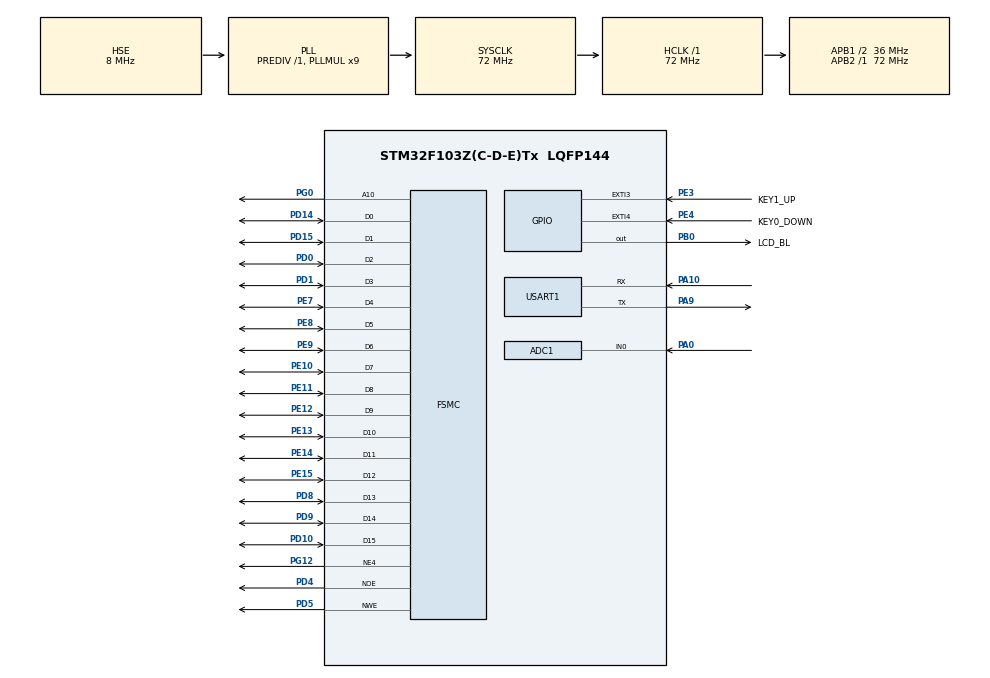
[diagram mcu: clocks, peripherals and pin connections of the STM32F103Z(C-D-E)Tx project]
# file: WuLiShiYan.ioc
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ADC1.Channel-3\#ChannelRegularConversion=ADC_CHANNEL_0
ADC1.ContinuousConvMode=DISABLE
ADC1.ExternalTrigConv=ADC_EXTERNALTRIGCONV_T3_TRGO
ADC1.NbrOfConversionFlag=1
ADC1.Rank-3\#ChannelRegularConversion=1
ADC1.SamplingTime-3\#ChannelRegularConversion=ADC_SAMPLETIME_1CYCLE_5
ADC1.master=1
FSMC.AddressSetupTime1=1
FSMC.BusTurnAroundDuration1=0
FSMC.DataSetupTime1=15
FSMC.ExtendedAddressSetupTime1=3
FSMC.ExtendedBusTurnAroundDuration1=0
FSMC.ExtendedDataSetupTime1=1
FSMC.ExtendedMode1=FSMC_EXTENDED_MODE_ENABLE
Mcu.Family=STM32F1
Mcu.Name=STM32F103Z(C-D-E)Tx
Mcu.Package=LQFP144
NVIC.ADC1_2_IRQn=true\:0\:0\:false\:false\:true\:true\:true\:true
NVIC.EXTI3_IRQn=true\:0\:0\:false\:false\:true\:true\:true\:true
NVIC.PriorityGroup=NVIC_PRIORITYGROUP_4
NVIC.TIM3_IRQn=true\:0\:0\:false\:false\:true\:true\:true\:true
OSC_IN.Mode=HSE-External-Oscillator
OSC_IN.Signal=RCC_OSC_IN
OSC_OUT.Mode=HSE-External-Oscillator
OSC_OUT.Signal=RCC_OSC_OUT
PA0-WKUP.Signal=ADCx_IN0
PA10.Mode=Asynchronous
PA10.Signal=USART1_RX
PA13.Mode=Serial_Wire
PA13.Signal=SYS_JTMS-SWDIO
PA14.Mode=Serial_Wire
PA14.Signal=SYS_JTCK-SWCLK
PA9.Mode=Asynchronous
PA9.Signal=USART1_TX
PB0.GPIO_Label=LCD_BL
PB0.Signal=GPIO_Output
PD0.Signal=FSMC_D2_DA2
PD1.Signal=FSMC_D3_DA3
PD10.Signal=FSMC_D15_DA15
PD14.Signal=FSMC_D0_DA0
PD15.Signal=FSMC_D1_DA1
PD4.Signal=FSMC_NOE
PD5.Signal=FSMC_NWE
PD8.Signal=FSMC_D13_DA13
PD9.Signal=FSMC_D14_DA14
PE10.Signal=FSMC_D7_DA7
PE11.Signal=FSMC_D8_DA8
PE12.Signal=FSMC_D9_DA9
PE13.Signal=FSMC_D10_DA10
PE14.Signal=FSMC_D11_DA11
PE15.Signal=FSMC_D12_DA12
PE3.GPIO_Label=KEY1_UP
PE3.GPIO_ModeDefaultEXTI=GPIO_MODE_IT_FALLING
PE3.GPIO_PuPd=GPIO_PULLUP
PE3.Signal=GPXTI3
PE4.GPIO_Label=KEY0_DOWN
PE4.GPIO_ModeDefaultEXTI=GPIO_MODE_IT_FALLING
PE4.GPIO_PuPd=GPIO_PULLUP
PE4.Signal=GPXTI4
PE7.Signal=FSMC_D4_DA4
PE8.Signal=FSMC_D5_DA5
PE9.Signal=FSMC_D6_DA6
PG0.Signal=FSMC_A10
PG12.Mode=NorPsramChipSelect4_1
PG12.Signal=FSMC_NE4
ProjectManager.HeapSize=0x200
ProjectManager.StackSize=0x400
ProjectManager.TargetToolchain=MDK-ARM V5.32
RCC.ADCPresc=RCC_ADCPCLK2_DIV6
RCC.AHBFreq_Value=72000000
RCC.APB1CLKDivider=RCC_HCLK_DIV2
RCC.APB1Freq_Value=36000000
RCC.APB1TimFreq_Value=72000000
RCC.APB2Freq_Value=72000000
RCC.APB2TimFreq_Value=72000000
RCC.HCLKFreq_Value=72000000
RCC.PLLMUL=RCC_PLL_MUL9
RCC.PLLSourceVirtual=RCC_PLLSOURCE_HSE
RCC.SYSCLKFreq_VALUE=72000000
RCC.SYSCLKSource=RCC_SYSCLKSOURCE_PLLCLK
RCC.USBFreq_Value=72000000
SH.ADCx_IN0.0=ADC1_IN0,IN0
SH.FSMC_A10.0=FSMC_A10,A10_1
SH.FSMC_D0_DA0.0=FSMC_D0,16b-d1
SH.FSMC_D10_DA10.0=FSMC_D10,16b-d1
SH.FSMC_D11_DA11.0=FSMC_D11,16b-d1
SH.FSMC_D12_DA12.0=FSMC_D12,16b-d1
SH.FSMC_D13_DA13.0=FSMC_D13,16b-d1
SH.FSMC_D14_DA14.0=FSMC_D14,16b-d1
SH.FSMC_D15_DA15.0=FSMC_D15,16b-d1
SH.FSMC_D1_DA1.0=FSMC_D1,16b-d1
SH.FSMC_D2_DA2.0=FSMC_D2,16b-d1
SH.FSMC_D3_DA3.0=FSMC_D3,16b-d1
SH.FSMC_D4_DA4.0=FSMC_D4,16b-d1
SH.FSMC_D5_DA5.0=FSMC_D5,16b-d1
SH.FSMC_D6_DA6.0=FSMC_D6,16b-d1
SH.FSMC_D7_DA7.0=FSMC_D7,16b-d1
SH.FSMC_D8_DA8.0=FSMC_D8,16b-d1
SH.FSMC_D9_DA9.0=FSMC_D9,16b-d1
SH.FSMC_NOE.0=FSMC_NOE,Lcd1
SH.FSMC_NWE.0=FSMC_NWE,Lcd1
TIM3.Period=100-1
TIM3.Prescaler=5
TIM3.TIM_MasterOutputTrigger=TIM_TRGO_UPDATE
TIM6.Prescaler=71
USART1.VirtualMode=VM_ASYNC
VP_TIM3_VS_ClockSourceINT.Mode=Internal
VP_TIM6_VS_ClockSourceINT.Mode=Enable_Timer
board=custom

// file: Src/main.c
/* USER CODE BEGIN Header */
/**
  ******************************************************************************
  * @file           : main.c
  * @brief          : Main program body
  ******************************************************************************
  * @attention
  *
  * Copyright (c) 2023 STMicroelectronics.
  * All rights reserved.
  *
  * This software is licensed under terms that can be found in the LICENSE file
  * in the root directory of this software component.
  * If no LICENSE file comes with this software, it is provided AS-IS.
  *
  ******************************************************************************
  */
/* USER CODE END Header */
#include "main.h"
#include "adc.h"
#include "tim.h"
#include "usart.h"
#include "gpio.h"
#include "fsmc.h"

/* USER CODE BEGIN Includes */
#include "lcd.h"
#include "stdio.h"
/* USER CODE END Includes */

/* USER CODE BEGIN PTD */
#ifdef __GNUC__
	#define PUTCHAR_PROTOTYPE int __io_putchar(int ch)
#else
	#define PUTCHAR_PROTOTYPE int fputc(int ch, FILE *f)
#endif

PUTCHAR_PROTOTYPE
{
	HAL_UART_Transmit(&huart1, (uint8_t *)&ch, 1, 0xFFFF);
	return ch;
}
/* USER CODE END PTD */

/* USER CODE BEGIN PM */
uint16_t vpp = 0;
uint16_t sample_rate = 120;
/* USER CODE END PM */

void SystemClock_Config(void);
/* USER CODE BEGIN PFP */
uint16_t SearchMax(uint16_t *pData,uint8_t Step);
/* USER CODE END PFP */

int main(void)
{
  /* USER CODE BEGIN 1 */
  uint16_t adc_value = 0;
  /* USER CODE END 1 */

  /* MCU Configuration--------------------------------------------------------*/

  /* Reset of all peripherals, Initializes the Flash interface and the Systick. */
  HAL_Init();

  /* Configure the system clock */
  SystemClock_Config();

  /* Initialize all configured peripherals */
  MX_GPIO_Init();
  MX_FSMC_Init();
  MX_TIM6_Init();
  MX_ADC1_Init();
  MX_USART1_UART_Init();
  MX_TIM3_Init();
  /* USER CODE BEGIN 2 */

  LCD_Init();
  LCD_Clear(GRAY);
  DrawGrid(350);    //画出网格
  DrawParameter();

  HAL_TIM_Base_Start_IT(&htim3);
  HAL_ADC_Start(&hadc1);
  int i = 0;
  uint8_t mode = 0;

  /* USER CODE END 2 */

  /* Infinite loop */
  while (1)
  {

    /* USER CODE BEGIN 3 */
	  if(mode == 0)
	  {
		  if(cycles != 800)
		  {
			  adc_value = HAL_ADC_GetValue(&hadc1);
			  wav[cycles] = adc_value * (3.3/4095) * 100;
			  cycles++;
		  }
		  else if(cycles == 800)
		  {
			  LCD_Fill(0,0,800,350,BLACK);
			  DrawGrid(350);    //画出网格
			  POINT_COLOR = YELLOW;
			  for(i = 0;i < 799;i++)
				LCD_DrawLine(i,480-wav[i]-130,i+1,480-wav[i+1]-130);
			  POINT_COLOR = WHITE;
			  LCD_Fill(49,410,98,434,GRAY);
			  vpp = SearchMax(wav,2)*10;    //转化为毫伏单位
			  LCD_ShowNum(49,410,vpp,GetPlace(vpp),24);
			  cycles = 0;
		  }
	  }

  }
  /* USER CODE END 3 */
}

void SystemClock_Config(void)
{
  RCC_OscInitTypeDef RCC_OscInitStruct = {0};
  RCC_ClkInitTypeDef RCC_ClkInitStruct = {0};
  RCC_PeriphCLKInitTypeDef PeriphClkInit = {0};

  /** Initializes the RCC Oscillators according to the specified parameters
  * in the RCC_OscInitTypeDef structure.
  */
  RCC_OscInitStruct.OscillatorType = RCC_OSCILLATORTYPE_HSE;
  RCC_OscInitStruct.HSEState = RCC_HSE_ON;
  RCC_OscInitStruct.HSEPredivValue = RCC_HSE_PREDIV_DIV1;
  RCC_OscInitStruct.HSIState = RCC_HSI_ON;
  RCC_OscInitStruct.PLL.PLLState = RCC_PLL_ON;
  RCC_OscInitStruct.PLL.PLLSource = RCC_PLLSOURCE_HSE;
  RCC_OscInitStruct.PLL.PLLMUL = RCC_PLL_MUL9;
  if (HAL_RCC_OscConfig(&RCC_OscInitStruct) != HAL_OK)
  {
    Error_Handler();
  }

  /** Initializes the CPU, AHB and APB buses clocks
  */
  RCC_ClkInitStruct.ClockType = RCC_CLOCKTYPE_HCLK|RCC_CLOCKTYPE_SYSCLK
                              |RCC_CLOCKTYPE_PCLK1|RCC_CLOCKTYPE_PCLK2;
  RCC_ClkInitStruct.SYSCLKSource = RCC_SYSCLKSOURCE_PLLCLK;
  RCC_ClkInitStruct.AHBCLKDivider = RCC_SYSCLK_DIV1;
  RCC_ClkInitStruct.APB1CLKDivider = RCC_HCLK_DIV2;
  RCC_ClkInitStruct.APB2CLKDivider = RCC_HCLK_DIV1;

  if (HAL_RCC_ClockConfig(&RCC_ClkInitStruct, FLASH_LATENCY_2) != HAL_OK)
  {
    Error_Handler();
  }
  PeriphClkInit.PeriphClockSelection = RCC_PERIPHCLK_ADC;
  PeriphClkInit.AdcClockSelection = RCC_ADCPCLK2_DIV6;
  if (HAL_RCCEx_PeriphCLKConfig(&PeriphClkInit) != HAL_OK)
  {
    Error_Handler();
  }
}

/* USER CODE BEGIN 4 */
/*void HAL_ADC_ChangeSampleRate(uint32_t data)
{
	__HAL_TIM_SET_AUTORELOAD(&htim3,)
}*/

uint16_t SearchMax(uint16_t *pData,uint8_t Step)
{
	int j,max = 0;
	for(j = 0;j < 800;j += Step)
		if((*(pData+j))>max) max = *(pData+j);
	return max;
}
/* USER CODE END 4 */

void Error_Handler(void)
{
  __disable_irq();
  while (1)
  {
  }
}
